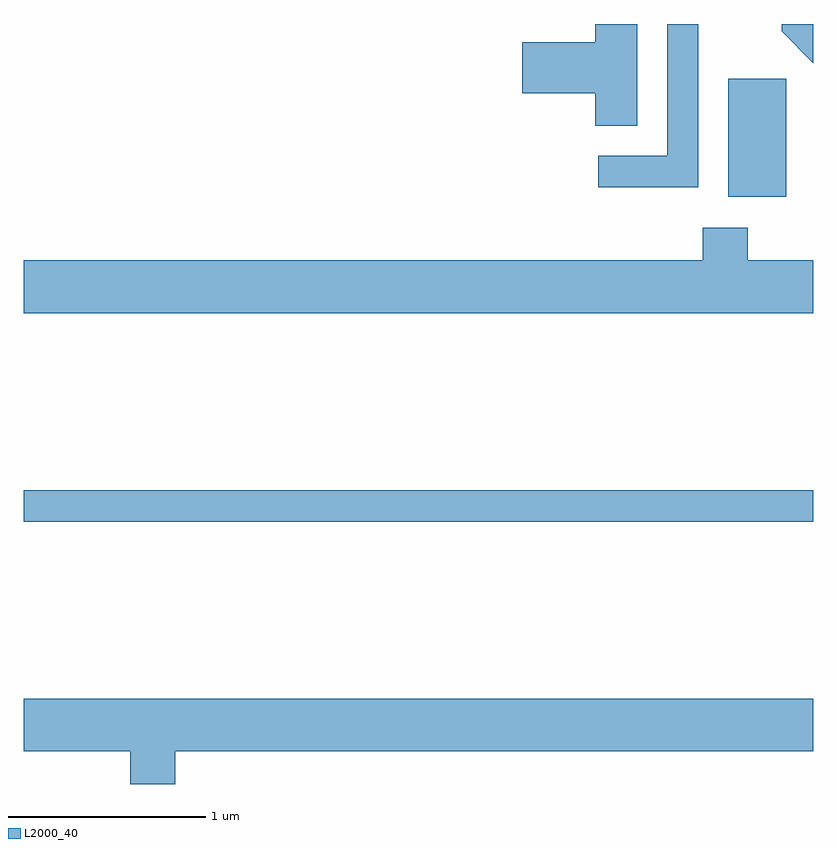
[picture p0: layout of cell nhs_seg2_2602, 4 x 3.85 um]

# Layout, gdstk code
import gdstk
lib = gdstk.Library(unit=1e-6, precision=1e-09)
def R(c, l, rs):  # rectangles x0, y0, x1, y1
    for r in rs: c.add(gdstk.rectangle(r[:2], r[2:], *l))
def P(c, l, *ps):  # polygons
    for p in ps: c.add(gdstk.Polygon(p, *l))
L2000_40 = (2000, 40)

nhs_seg2_2602 = lib.new_cell('nhs_seg2_2602')
R(nhs_seg2_2602, L2000_40, [(261.611,1027.281,265.611,1027.439), (265.181,1028.926,265.474,1029.524)])
P(nhs_seg2_2602, L2000_40, [(265.029,1029.802),(264.871,1029.802),(264.871,1029.134),(264.523,1029.134),(264.523,1028.976),(265.029,1028.976)],
  [(265.611,1029.802),(265.451,1029.802),(265.451,1029.764),(265.611,1029.604)],
  [(264.719,1029.802),(264.506,1029.802),(264.506,1029.709),(264.136,1029.709),(264.136,1029.451),(264.506,1029.451),(264.506,1029.286),(264.719,1029.286)],
  [(265.611,1028.604),(265.279,1028.604),(265.279,1028.769),(265.051,1028.769),(265.051,1028.604),(261.611,1028.604),(261.611,1028.336),(265.611,1028.336)],
  [(262.379,1026.116),(265.611,1026.116),(265.611,1026.384),(261.611,1026.384),(261.611,1026.116),(262.151,1026.116),(262.151,1025.951),(262.379,1025.951)])

lib.write_gds('nhs_seg2_2602.gds')
